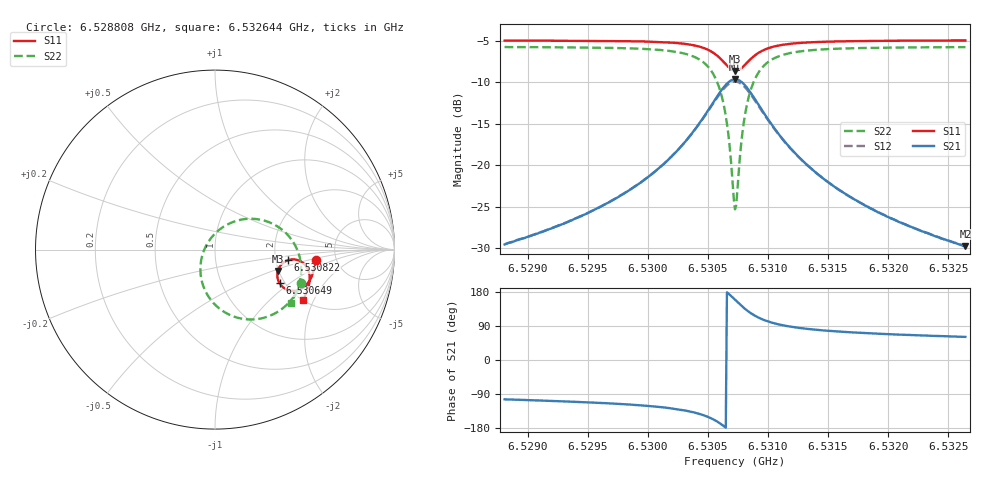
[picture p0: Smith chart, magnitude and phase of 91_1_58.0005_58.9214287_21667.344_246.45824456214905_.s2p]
#  HZ  S  RI  R  50.00
! Rohde & Schwarz Vector Network Analyzer
! Rohde-Schwarz,ZNB20-2Port,1311601062101988,3.16
! Created: UTC 3/21/2024, 12:54:18 AM
! freq[Hz]  re:S11  im:S11  re:S21  im:S21  re:S12  im:S12  re:S22  im:S22
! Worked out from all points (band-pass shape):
!   401 points, 6.528808 GHz to 6.532644 GHz, reference 50 ohm
!   highest |S21| = -9.64 dB at 6.530726 GHz (marker M1); lowest = -29.7 dB at 6.532644 GHz (marker M2)
!   |S21| within 3 dB of the highest: 6.530535 GHz to 6.530919 GHz (383.7 kHz wide, 0.00588 % of centre)
!   lowest |S11| = -8.6 dB at 6.530726 GHz (marker M3), VSWR 2.17, Z = 98.8 - j27.3 ohm
!   |S11| at or under -10 dB: nowhere
!   |S22| runs from -25.3 to -5.8 dB; largest |S21 - S12| = 0.014
!   S11 on the Smith chart (normalised r, x): 6.528808 GHz: 3.48, -0.57; 6.530649 GHz: 1.88, -0.85; 6.530822 GHz: 2.35, -0.33; 6.532644 GHz: 2.01, -1.66
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6.5288082e9  0.5607 -0.0556  -0.00792 -0.0323  -0.00865 -0.0323  0.4813 -0.1854
6.5294506e9  0.5513 -0.1106  -0.0179 -0.0461  -0.0189 -0.0459  0.4487 -0.2476
6.5298055e9  0.5406 -0.1451  -0.0305 -0.0604  -0.0322 -0.0597  0.4152 -0.2917
6.5300931e9  0.524 -0.1781  -0.0535 -0.0797  -0.0559 -0.0782  0.363 -0.3377
6.5303233e9  0.4945 -0.2101  -0.0988 -0.1019  -0.1019 -0.0983  0.2717 -0.3801
6.5304863e9  0.4465 -0.2294  -0.175 -0.1081  -0.1775 -0.1003  0.1318 -0.3811
6.5305822e9  0.3971 -0.2213  -0.2519 -0.0754  -0.2505 -0.0644  0.0045 -0.3109
6.5306205e9  0.3749 -0.2058  -0.285 -0.0422  -0.2803 -0.0307  -0.0446 -0.2481
6.5306493e9  0.3602 -0.1879  -0.3054 -0.00684  -0.2978 0.00411  -0.0712 -0.185
6.5306781e9  0.3501 -0.1647  -0.317 0.037  -0.3069 0.0461  -0.0816 -0.1103
6.5307164e9  0.3481 -0.1285  -0.3129 0.1019  -0.3005 0.1068  -0.0618 -0.0048
6.530726e9  0.35 -0.1192  -0.3078 0.1178  -0.2953 0.1218  -0.0503 0.0202
6.5307452e9  0.3567 -0.102  -0.293 0.1479  -0.2807 0.1496  -0.0205 0.0664
6.5307836e9  0.3792 -0.0742  -0.2492 0.1952  -0.2387 0.193  0.0602 0.1353
6.5308219e9  0.4079 -0.0587  -0.1972 0.2206  -0.1893 0.217  0.1508 0.1678
6.5308891e9  0.4543 -0.0566  -0.1161 0.2239  -0.1122 0.2202  0.287 0.1577
6.5309849e9  0.4955 -0.0786  -0.0461 0.1913  -0.0442 0.1893  0.4003 0.0868
6.5311288e9  0.5202 -0.1154  -0.00329 0.1421  -0.00217 0.1411  0.4631 -0.014
6.5313685e9  0.5279 -0.1595  0.015 0.0932  0.0163 0.0927  0.4802 -0.1164
6.5316562e9  0.5234 -0.1958  0.0185 0.0637  0.0194 0.0635  0.4711 -0.1844
6.532011e9  0.5133 -0.2303  0.018 0.0448  0.0189 0.0448  0.4537 -0.2363
6.5326439e9  0.4907 -0.2802  0.0158 0.0285  0.0165 0.028  0.4209 -0.2967
